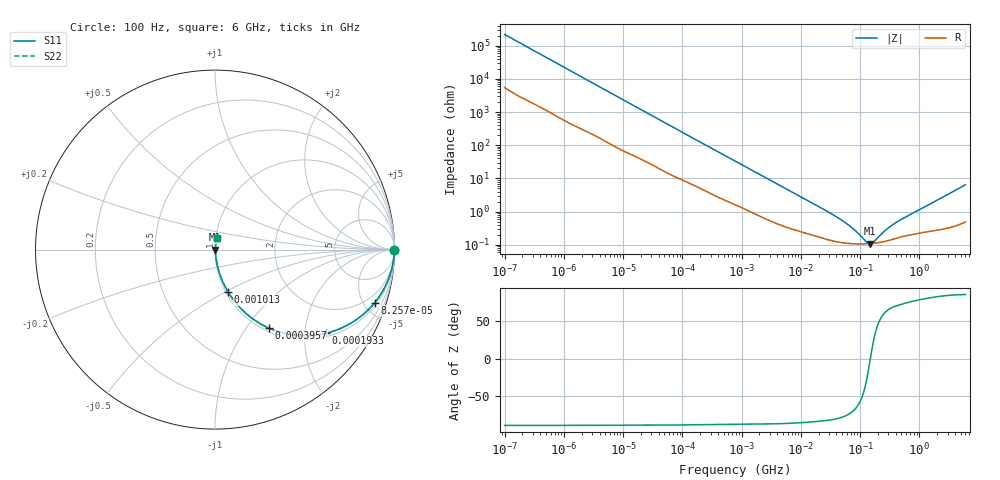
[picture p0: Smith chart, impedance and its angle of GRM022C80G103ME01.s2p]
!Murata Part Number: GRM022C80G103ME01
!These Parameters are Measured in Series Mode Connection
!Data Generated on Mar 30, 2021
!  o--ll--o
!Port1  Port2
!  o------o
!Operation Temp=25[degC], DC Bias Voltage=0[V]
!Freq. Start=100[Hz] Stop=6[GHz] 401[Steps]
# Hz S RI R 50
!Freq.(Hz) S11(Real) S11(Imag) S21(Real) S21(Imag) S12(Real) S12(Imag) S22(Real) S22(Imag)
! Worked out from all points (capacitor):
!   401 points, 100 Hz to 6 GHz, reference 50 ohm
!   read as one part in series: C = 7.3 nF near 109 Hz
!   lowest |Z| = 109 mohm at 145.9 MHz (marker M1)
!   series resonance near 148.9 MHz, so ESL is about 160 pH
!   S11 on the Smith chart (normalised r, x): 100 Hz: open; 82.57 kHz: 1.21, -5.91; 193.3 kHz: 1.10, -2.58; 395.7 kHz: 1.06, -1.28; 1.013 MHz: 1.03, -0.51; 6 GHz: 1.01, +0.13
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100  1 -0.000461  1.18e-05 0.000461  1.18e-05 0.000461  1 -0.000461
2008  0.9997 -0.00883  0.000315 0.00883  0.000315 0.00883  0.9997 -0.00883
12041  0.9959 -0.051  0.00414 0.051  0.00414 0.051  0.9959 -0.051
40335  0.9676 -0.1612  0.0324 0.1612  0.0324 0.1612  0.9676 -0.1612
82567  0.889 -0.297  0.111 0.297  0.111 0.297  0.889 -0.297
123542  0.7901 -0.3887  0.2099 0.3887  0.2099 0.3887  0.7901 -0.3887
193316  0.6195 -0.4658  0.3805 0.4658  0.3805 0.4658  0.6195 -0.4658
276587  0.4544 -0.4776  0.5456 0.4776  0.5456 0.4776  0.4544 -0.4776
395726  0.2991 -0.4369  0.7009 0.4369  0.7009 0.4369  0.2991 -0.4369
541393  0.1932 -0.3727  0.8068 0.3727  0.8068 0.3727  0.1932 -0.3727
774597  0.1115 -0.2913  0.8885 0.2913  0.8885 0.2913  0.1115 -0.2913
1013323  0.0726 -0.2352  0.9274 0.2352  0.9274 0.2352  0.0726 -0.2352
3103719  0.0125 -0.0853  0.9875 0.0853  0.9875 0.0853  0.0125 -0.0853
1.555665e7  0.00228 -0.0181  0.9977 0.0181  0.9977 0.0181  0.00228 -0.0181
5.449875e7  0.00116 -0.00471  0.9988 0.00471  0.9988 0.00471  0.00116 -0.00471
8.154455e7  0.00108 -0.00255  0.9989 0.00255  0.9989 0.00255  0.00108 -0.00255
1.275994e8  0.00107 -0.000617  0.9989 0.000617  0.9989 0.000617  0.00107 -0.000617
1.459435e8  0.00109 -7.94e-05  0.9989 7.94e-05  0.9989 7.94e-05  0.00109 -7.94e-05
1.745687e8  0.00112 0.000633  0.9989 -0.000633  0.9989 -0.000633  0.00112 0.000633
3.124326e8  0.00138 0.00313  0.9986 -0.00313  0.9986 -0.00313  0.00138 0.00313
5.59173e8  0.00186 0.00627  0.9981 -0.00627  0.9981 -0.00627  0.00186 0.00627
6e9  0.00887 0.0633  0.9911 -0.0633  0.9911 -0.0633  0.00887 0.0633
